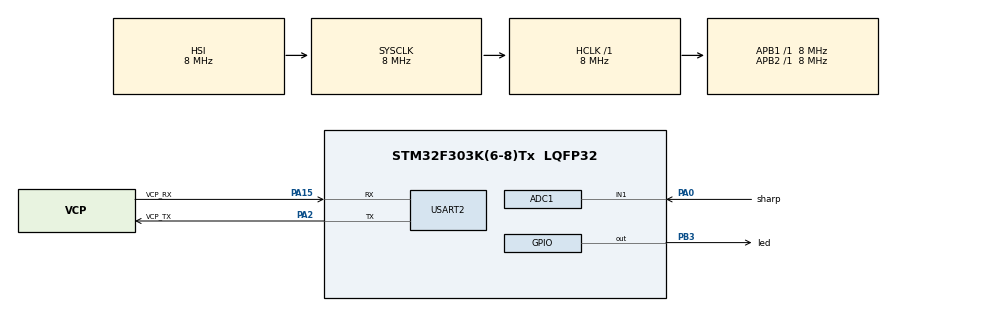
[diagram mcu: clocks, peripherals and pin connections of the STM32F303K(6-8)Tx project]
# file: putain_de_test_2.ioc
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ADC1.Channel-0\#ChannelRegularConversion=ADC_CHANNEL_1
ADC1.NbrOfConversionFlag=1
ADC1.Offset-0\#ChannelRegularConversion=0
ADC1.OffsetNumber-0\#ChannelRegularConversion=ADC_OFFSET_NONE
ADC1.Rank-0\#ChannelRegularConversion=1
ADC1.SamplingTime-0\#ChannelRegularConversion=ADC_SAMPLETIME_1CYCLE_5
ADC1.SubFamily=STM32F303x8
ADC1.master=1
FREERTOS.Tasks01=defaultTask,0,128,StartDefaultTask,Default,NULL,Dynamic,NULL,NULL;pc_com,-3,256,pcCOM,As weak,NULL,Dynamic,NULL,NULL
Mcu.Family=STM32F3
Mcu.Name=STM32F303K(6-8)Tx
Mcu.Package=LQFP32
NVIC.ADC1_2_IRQn=true\:5\:0\:false\:false\:true\:true
NVIC.PriorityGroup=NVIC_PRIORITYGROUP_4
NVIC.TIM1_TRG_COM_TIM17_IRQn=true\:0\:0\:false\:false\:true\:false
NVIC.TimeBase=TIM1_TRG_COM_TIM17_IRQn
NVIC.TimeBaseIP=TIM17
PA0.GPIO_Label=sharp
PA0.Mode=IN1-Single-Ended
PA0.Signal=ADC1_IN1
PA13.GPIO_Label=SWDIO
PA13.Signal=SYS_JTMS-SWDIO
PA14.GPIO_Label=SWCLK
PA14.Signal=SYS_JTCK-SWCLK
PA15.GPIO_Label=VCP_RX
PA15.Mode=Asynchronous
PA15.Signal=USART2_RX
PA2.GPIO_Label=VCP_TX
PA2.Mode=Asynchronous
PA2.Signal=USART2_TX
PB3.GPIO_Label=led
PB3.Signal=GPIO_Output
PF0\ /\ OSC_IN.GPIO_Label=MCO
PF0\ /\ OSC_IN.Signal=RCC_OSC_IN
ProjectManager.HeapSize=0x200
ProjectManager.StackSize=0x2000
ProjectManager.TargetToolchain=Makefile
RCC.AHBFreq_Value=8000000
RCC.APB1Freq_Value=8000000
RCC.APB2Freq_Value=8000000
RCC.CortexFreq_Value=8000000
RCC.HSE_VALUE=8000000
RCC.HSI_VALUE=8000000
RCC.PLLMUL=RCC_PLL_MUL4
RCC.SYSCLKFreq_VALUE=8000000
USART2.VirtualMode-Asynchronous=VM_ASYNC
VP_FREERTOS_VS_ENABLE.Mode=Enabled
VP_SYS_VS_tim17.Mode=TIM17
board=NUCLEO-F303K8

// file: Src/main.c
/**
  ******************************************************************************
  * File Name          : main.c
  * Description        : Main program body
  ******************************************************************************
  * This notice applies to any and all portions of this file
  * that are not between comment pairs USER CODE BEGIN and
  * USER CODE END. Other portions of this file, whether
  * inserted by the user or by software development tools
  * are owned by their respective copyright owners.
  *
  * Copyright (c) 2017 STMicroelectronics International N.V.
  * All rights reserved.
  *
  * Redistribution and use in source and binary forms, with or without
  * modification, are permitted, provided that the following conditions are met:
  *
  * 1. Redistribution of source code must retain the above copyright notice,
  *    this list of conditions and the following disclaimer.
  * 2. Redistributions in binary form must reproduce the above copyright notice,
  *    this list of conditions and the following disclaimer in the documentation
  *    and/or other materials provided with the distribution.
  * 3. Neither the name of STMicroelectronics nor the names of other
  *    contributors to this software may be used to endorse or promote products
  *    derived from this software without specific written permission.
  * 4. This software, including modifications and/or derivative works of this
  *    software, must execute solely and exclusively on microcontroller or
  *    microprocessor devices manufactured by or for STMicroelectronics.
  * 5. Redistribution and use of this software other than as permitted under
  *    this license is void and will automatically terminate your rights under
  *    this license.
  *
  * THIS SOFTWARE IS PROVIDED BY STMICROELECTRONICS AND CONTRIBUTORS "AS IS"
  * AND ANY EXPRESS, IMPLIED OR STATUTORY WARRANTIES, INCLUDING, BUT NOT
  * LIMITED TO, THE IMPLIED WARRANTIES OF MERCHANTABILITY, FITNESS FOR A
  * PARTICULAR PURPOSE AND NON-INFRINGEMENT OF THIRD PARTY INTELLECTUAL PROPERTY
  * RIGHTS ARE DISCLAIMED TO THE FULLEST EXTENT PERMITTED BY LAW. IN NO EVENT
  * SHALL STMICROELECTRONICS OR CONTRIBUTORS BE LIABLE FOR ANY DIRECT, INDIRECT,
  * INCIDENTAL, SPECIAL, EXEMPLARY, OR CONSEQUENTIAL DAMAGES (INCLUDING, BUT NOT
  * LIMITED TO, PROCUREMENT OF SUBSTITUTE GOODS OR SERVICES; LOSS OF USE, DATA,
  * OR PROFITS; OR BUSINESS INTERRUPTION) HOWEVER CAUSED AND ON ANY THEORY OF
  * LIABILITY, WHETHER IN CONTRACT, STRICT LIABILITY, OR TORT (INCLUDING
  * NEGLIGENCE OR OTHERWISE) ARISING IN ANY WAY OUT OF THE USE OF THIS SOFTWARE,
  * EVEN IF ADVISED OF THE POSSIBILITY OF SUCH DAMAGE.
  *
  ******************************************************************************
  */
#include "main.h"
#include "stm32f3xx_hal.h"
#include "cmsis_os.h"

ADC_HandleTypeDef hadc1;

UART_HandleTypeDef huart2;

osThreadId defaultTaskHandle;
osThreadId pc_comHandle;

/* USER CODE BEGIN PV */
/* Private variables ---------------------------------------------------------*/

/* USER CODE END PV */

void SystemClock_Config(void);
static void MX_GPIO_Init(void);
static void MX_USART2_UART_Init(void);
static void MX_ADC1_Init(void);
void StartDefaultTask(void const * argument);
void pcCOM(void const * argument);

/* USER CODE BEGIN PFP */
/* Private function prototypes -----------------------------------------------*/

/* USER CODE END PFP */

int main(void)
{

  /* MCU Configuration----------------------------------------------------------*/

  /* Reset of all peripherals, Initializes the Flash interface and the Systick. */
  HAL_Init();

  /* Configure the system clock */
  SystemClock_Config();

  /* Initialize all configured peripherals */
  MX_GPIO_Init();
  MX_USART2_UART_Init();
  MX_ADC1_Init();

  /* Create the thread(s) */
  /* definition and creation of defaultTask */
  osThreadDef(defaultTask, StartDefaultTask, osPriorityNormal, 0, 128);
  defaultTaskHandle = osThreadCreate(osThread(defaultTask), NULL);

  /* definition and creation of pc_com */
  osThreadDef(pc_com, pcCOM, osPriorityIdle, 0, 256);
  pc_comHandle = osThreadCreate(osThread(pc_com), NULL);

  /* Start scheduler */
  osKernelStart();

  /* We should never get here as control is now taken by the scheduler */

  /* Infinite loop */
  while (1)
  {

  }

}

/** System Clock Configuration
*/
void SystemClock_Config(void)
{

  RCC_OscInitTypeDef RCC_OscInitStruct;
  RCC_ClkInitTypeDef RCC_ClkInitStruct;
  RCC_PeriphCLKInitTypeDef PeriphClkInit;

    /**Initializes the CPU, AHB and APB busses clocks
    */
  RCC_OscInitStruct.OscillatorType = RCC_OSCILLATORTYPE_HSI;
  RCC_OscInitStruct.HSIState = RCC_HSI_ON;
  RCC_OscInitStruct.HSICalibrationValue = 16;
  RCC_OscInitStruct.PLL.PLLState = RCC_PLL_ON;
  RCC_OscInitStruct.PLL.PLLSource = RCC_PLLSOURCE_HSI;
  RCC_OscInitStruct.PLL.PLLMUL = RCC_PLL_MUL4;
  if (HAL_RCC_OscConfig(&RCC_OscInitStruct) != HAL_OK)
  {
    _Error_Handler(__FILE__, __LINE__);
  }

    /**Initializes the CPU, AHB and APB busses clocks
    */
  RCC_ClkInitStruct.ClockType = RCC_CLOCKTYPE_HCLK|RCC_CLOCKTYPE_SYSCLK
                              |RCC_CLOCKTYPE_PCLK1|RCC_CLOCKTYPE_PCLK2;
  RCC_ClkInitStruct.SYSCLKSource = RCC_SYSCLKSOURCE_HSI;
  RCC_ClkInitStruct.AHBCLKDivider = RCC_SYSCLK_DIV1;
  RCC_ClkInitStruct.APB1CLKDivider = RCC_HCLK_DIV1;
  RCC_ClkInitStruct.APB2CLKDivider = RCC_HCLK_DIV1;

  if (HAL_RCC_ClockConfig(&RCC_ClkInitStruct, FLASH_LATENCY_0) != HAL_OK)
  {
    _Error_Handler(__FILE__, __LINE__);
  }

  PeriphClkInit.PeriphClockSelection = RCC_PERIPHCLK_ADC12;
  PeriphClkInit.Adc12ClockSelection = RCC_ADC12PLLCLK_DIV1;
  if (HAL_RCCEx_PeriphCLKConfig(&PeriphClkInit) != HAL_OK)
  {
    _Error_Handler(__FILE__, __LINE__);
  }

    /**Configure the Systick interrupt time
    */
  HAL_SYSTICK_Config(HAL_RCC_GetHCLKFreq()/1000);

    /**Configure the Systick
    */
  HAL_SYSTICK_CLKSourceConfig(SYSTICK_CLKSOURCE_HCLK);

  /* SysTick_IRQn interrupt configuration */
  HAL_NVIC_SetPriority(SysTick_IRQn, 15, 0);
}

/* ADC1 init function */
static void MX_ADC1_Init(void)
{

  ADC_MultiModeTypeDef multimode;
  ADC_ChannelConfTypeDef sConfig;

    /**Common config
    */
  hadc1.Instance = ADC1;
  hadc1.Init.ClockPrescaler = ADC_CLOCK_ASYNC_DIV1;
  hadc1.Init.Resolution = ADC_RESOLUTION_12B;
  hadc1.Init.ScanConvMode = ADC_SCAN_DISABLE;
  hadc1.Init.ContinuousConvMode = DISABLE;
  hadc1.Init.DiscontinuousConvMode = DISABLE;
  hadc1.Init.ExternalTrigConvEdge = ADC_EXTERNALTRIGCONVEDGE_NONE;
  hadc1.Init.ExternalTrigConv = ADC_SOFTWARE_START;
  hadc1.Init.DataAlign = ADC_DATAALIGN_RIGHT;
  hadc1.Init.NbrOfConversion = 1;
  hadc1.Init.DMAContinuousRequests = DISABLE;
  hadc1.Init.EOCSelection = ADC_EOC_SINGLE_CONV;
  hadc1.Init.LowPowerAutoWait = DISABLE;
  hadc1.Init.Overrun = ADC_OVR_DATA_OVERWRITTEN;
  if (HAL_ADC_Init(&hadc1) != HAL_OK)
  {
    _Error_Handler(__FILE__, __LINE__);
  }

    /**Configure the ADC multi-mode
    */
  multimode.Mode = ADC_MODE_INDEPENDENT;
  if (HAL_ADCEx_MultiModeConfigChannel(&hadc1, &multimode) != HAL_OK)
  {
    _Error_Handler(__FILE__, __LINE__);
  }

    /**Configure Regular Channel
    */
  sConfig.Channel = ADC_CHANNEL_1;
  sConfig.Rank = 1;
  sConfig.SingleDiff = ADC_SINGLE_ENDED;
  sConfig.SamplingTime = ADC_SAMPLETIME_1CYCLE_5;
  sConfig.OffsetNumber = ADC_OFFSET_NONE;
  sConfig.Offset = 0;
  if (HAL_ADC_ConfigChannel(&hadc1, &sConfig) != HAL_OK)
  {
    _Error_Handler(__FILE__, __LINE__);
  }

}

/* USART2 init function */
static void MX_USART2_UART_Init(void)
{

  huart2.Instance = USART2;
  huart2.Init.BaudRate = 38400;
  huart2.Init.StopBits = UART_STOPBITS_1;
  huart2.Init.Parity = UART_PARITY_NONE;
  huart2.Init.Mode = UART_MODE_TX_RX;
  huart2.Init.HwFlowCtl = UART_HWCONTROL_NONE;
  huart2.Init.OverSampling = UART_OVERSAMPLING_16;
  huart2.Init.OneBitSampling = UART_ONE_BIT_SAMPLE_DISABLE;
  huart2.AdvancedInit.AdvFeatureInit = UART_ADVFEATURE_NO_INIT;
  if (HAL_UART_Init(&huart2) != HAL_OK)
  {
    _Error_Handler(__FILE__, __LINE__);
  }

}

/** Configure pins as
        * Analog
        * Input
        * Output
        * EVENT_OUT
        * EXTI
*/
static void MX_GPIO_Init(void)
{

  GPIO_InitTypeDef GPIO_InitStruct;

  /* GPIO Ports Clock Enable */
  __HAL_RCC_GPIOF_CLK_ENABLE();
  __HAL_RCC_GPIOA_CLK_ENABLE();
  __HAL_RCC_GPIOB_CLK_ENABLE();

  /*Configure GPIO pin Output Level */
  HAL_GPIO_WritePin(led_GPIO_Port, led_Pin, GPIO_PIN_RESET);

  /*Configure GPIO pin : led_Pin */
  GPIO_InitStruct.Pin = led_Pin;
  GPIO_InitStruct.Mode = GPIO_MODE_OUTPUT_PP;
  GPIO_InitStruct.Pull = GPIO_NOPULL;
  GPIO_InitStruct.Speed = GPIO_SPEED_FREQ_LOW;
  HAL_GPIO_Init(led_GPIO_Port, &GPIO_InitStruct);

}

/* StartDefaultTask function */
void StartDefaultTask(void const * argument)
{

  /* USER CODE BEGIN 5 */
  /* Infinite loop */
  for(;;)
  {
    HAL_GPIO_TogglePin(led_GPIO_Port, led_Pin);
    osDelay(1000);
  }
  /* USER CODE END 5 */
}

/* pcCOM function */
__weak void pcCOM(void const * argument)
{
  for(;;)
  {
    osDelay(1);
  }
}

void HAL_TIM_PeriodElapsedCallback(TIM_HandleTypeDef *htim)
{
  if (htim->Instance == TIM17) {
    HAL_IncTick();
  }
}

void _Error_Handler(char * file, int line)
{
  while(1)
  {
  }
}

/************************ (C) COPYRIGHT STMicroelectronics *****END OF FILE****/

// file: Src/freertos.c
/**
  ******************************************************************************
  * File Name          : freertos.c
  * Description        : Code for freertos applications
  ******************************************************************************
  * This notice applies to any and all portions of this file
  * that are not between comment pairs USER CODE BEGIN and
  * USER CODE END. Other portions of this file, whether
  * inserted by the user or by software development tools
  * are owned by their respective copyright owners.
  *
  * Copyright (c) 2017 STMicroelectronics International N.V.
  * All rights reserved.
  *
  * Redistribution and use in source and binary forms, with or without
  * modification, are permitted, provided that the following conditions are met:
  *
  * 1. Redistribution of source code must retain the above copyright notice,
  *    this list of conditions and the following disclaimer.
  * 2. Redistributions in binary form must reproduce the above copyright notice,
  *    this list of conditions and the following disclaimer in the documentation
  *    and/or other materials provided with the distribution.
  * 3. Neither the name of STMicroelectronics nor the names of other
  *    contributors to this software may be used to endorse or promote products
  *    derived from this software without specific written permission.
  * 4. This software, including modifications and/or derivative works of this
  *    software, must execute solely and exclusively on microcontroller or
  *    microprocessor devices manufactured by or for STMicroelectronics.
  * 5. Redistribution and use of this software other than as permitted under
  *    this license is void and will automatically terminate your rights under
  *    this license.
  *
  * THIS SOFTWARE IS PROVIDED BY STMICROELECTRONICS AND CONTRIBUTORS "AS IS"
  * AND ANY EXPRESS, IMPLIED OR STATUTORY WARRANTIES, INCLUDING, BUT NOT
  * LIMITED TO, THE IMPLIED WARRANTIES OF MERCHANTABILITY, FITNESS FOR A
  * PARTICULAR PURPOSE AND NON-INFRINGEMENT OF THIRD PARTY INTELLECTUAL PROPERTY
  * RIGHTS ARE DISCLAIMED TO THE FULLEST EXTENT PERMITTED BY LAW. IN NO EVENT
  * SHALL STMICROELECTRONICS OR CONTRIBUTORS BE LIABLE FOR ANY DIRECT, INDIRECT,
  * INCIDENTAL, SPECIAL, EXEMPLARY, OR CONSEQUENTIAL DAMAGES (INCLUDING, BUT NOT
  * LIMITED TO, PROCUREMENT OF SUBSTITUTE GOODS OR SERVICES; LOSS OF USE, DATA,
  * OR PROFITS; OR BUSINESS INTERRUPTION) HOWEVER CAUSED AND ON ANY THEORY OF
  * LIABILITY, WHETHER IN CONTRACT, STRICT LIABILITY, OR TORT (INCLUDING
  * NEGLIGENCE OR OTHERWISE) ARISING IN ANY WAY OUT OF THE USE OF THIS SOFTWARE,
  * EVEN IF ADVISED OF THE POSSIBILITY OF SUCH DAMAGE.
  *
  ******************************************************************************
  */

#include "FreeRTOS.h"
#include "task.h"

/* USER CODE BEGIN Includes */
#include <string.h>
#include <ctype.h>
#include "stm32f3xx_hal.h"
#include "cmsis_os.h"
#include "main.h"
/* USER CODE END Includes */

/* USER CODE BEGIN Variables */
extern UART_HandleTypeDef huart2;
extern ADC_HandleTypeDef hadc1;

int flag = 0;
uint32_t adcResult;
/* USER CODE END Variables */

/* USER CODE BEGIN FunctionPrototypes */

int _write(int file, char *ptr, int len) {
    UNUSED(file);

    HAL_UART_Transmit(&huart2, (uint8_t *) ptr, (uint16_t) len, 10000);

    return len;
}

void HAL_ADC_ConvCpltCallback(ADC_HandleTypeDef *hadc)
{
  /* Prevent unused argument(s) compilation warning */
  UNUSED(hadc);

  /* Note : This function is defined into this file for library reference. */
  /*        Function content is located into file stm32f3xx_hal_adc_ex.c   */
  adcResult = HAL_ADC_GetValue(hadc);

  flag = 1;
}

/* USER CODE END FunctionPrototypes */

/* Hook prototypes */

/* USER CODE BEGIN Application */
/* pcCOM function */
void pcCOM(void const * argument)
{
  /* USER CODE BEGIN pcCOM */

  printf("Hello world\r\n");
  UNUSED(argument);
  /* Infinite loop */
  while (1)
  {
      HAL_ADC_Start_IT(&hadc1);
      osDelay(300);
      if (flag == 1) {
          printf("Value : %lu\r\n", adcResult);
          flag = 0;
      }
  }
  /* USER CODE END pcCOM */
}

/* USER CODE END Application */

/************************ (C) COPYRIGHT STMicroelectronics *****END OF FILE****/
